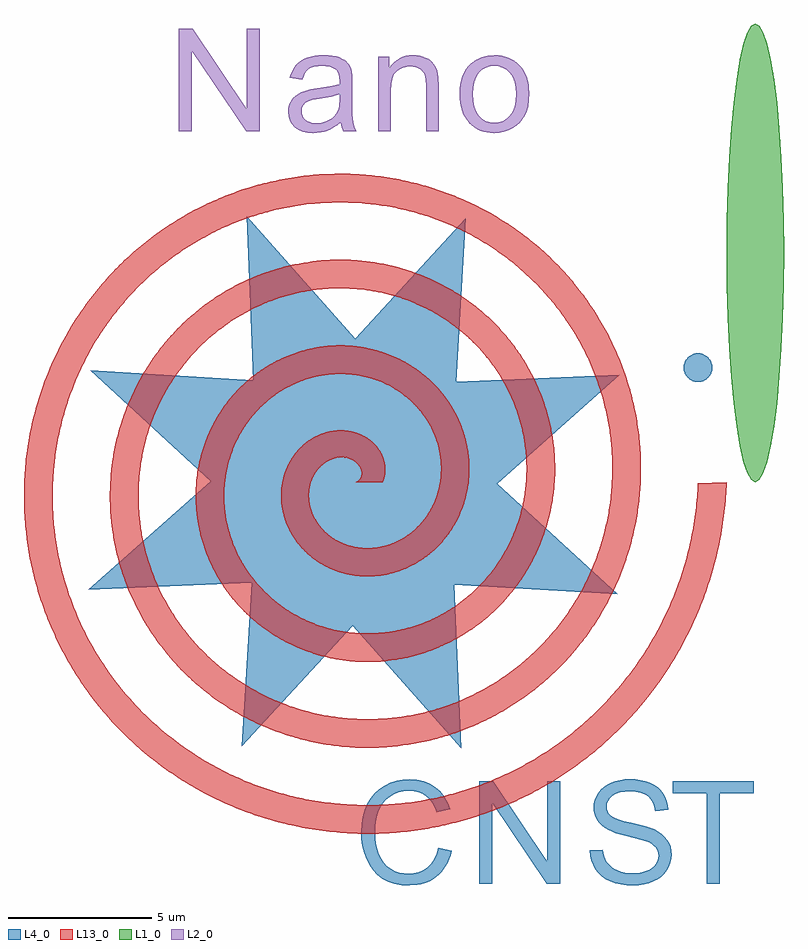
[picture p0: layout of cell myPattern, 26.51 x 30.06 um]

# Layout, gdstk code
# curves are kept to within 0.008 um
import gdstk
lib = gdstk.Library(unit=1e-6, precision=1e-09)
def P(c, l, *ps):  # polygons
    for p in ps: c.add(gdstk.Polygon(p, *l))
L1_0 = (1, 0)
L2_0 = (2, 0)
L4_0 = (4, 0)
L13_0 = (13, 0)

mypattern = lib.new_cell('myPattern')
P(mypattern, L1_0, [(14,0),(13.858,0.081),(13.718,0.324),(13.585,0.723),(13.459,1.27),(13.345,1.954),(13.244,2.761),(13.159,3.675),(13.09,4.677),(13.041,5.746),(13.01,6.861),(13,8),(13.01,9.139),(13.041,10.254),(13.09,11.323),(13.159,12.325),(13.244,13.239),(13.345,14.046),(13.459,14.73),(13.585,15.277),(13.718,15.676),(13.858,15.919),(14,16),(14.142,15.919),(14.282,15.676),(14.415,15.277),(14.541,14.73),(14.655,14.046),(14.756,13.239),(14.841,12.325),(14.91,11.323),(14.959,10.254),(14.99,9.139),(15,8),(14.99,6.861),(14.959,5.746),(14.91,4.677),(14.841,3.675),(14.756,2.761),(14.655,1.954),(14.541,1.27),(14.415,0.723),(14.282,0.324),(14.142,0.081)])
P(mypattern, L2_0, [(-1.422,12.18),(-1.621,12.193),(-1.795,12.232),(-1.945,12.298),(-2.07,12.391),(-2.181,12.523),(-1.19,12.531),(-0.964,12.589),(-0.859,12.641),(-0.684,12.775),(-0.616,12.856),(-0.562,12.945),(-0.516,13.125),(-0.5,13.539),(-0.797,13.453),(-1.219,13.383),(-1.447,13.336),(-1.602,13.289),(-1.703,13.23),(-1.773,13.148),(-1.814,13.051),(-1.828,12.945),(-1.82,12.856),(-1.795,12.775),(-1.753,12.704),(-1.695,12.641),(-1.622,12.589),(-1.533,12.553),(-1.43,12.531),(-1.312,12.523),(-2.181,12.523),(-2.24,12.631),(-2.283,12.773),(-2.297,12.93),(-2.292,13.021),(-2.249,13.193),(-2.165,13.348),(-2.111,13.414),(-1.984,13.523),(-1.836,13.605),(-1.512,13.707),(-0.82,13.809),(-0.5,13.883),(-0.508,14.131),(-0.531,14.234),(-0.57,14.318),(-0.625,14.383),(-0.721,14.444),(-0.836,14.488),(-0.971,14.515),(-1.125,14.523),(-1.396,14.498),(-1.501,14.466),(-1.586,14.422),(-1.655,14.36),(-1.713,14.275),(-1.76,14.168),(-1.797,14.039),(-2.234,14.102),(-2.199,14.229),(-2.101,14.447),(-2.039,14.539),(-1.965,14.62),(-1.77,14.753),(-1.648,14.805),(-1.373,14.875),(-1.062,14.898),(-0.754,14.879),(-0.516,14.82),(-0.42,14.779),(-0.268,14.681),(-0.165,14.562),(-0.098,14.41),(-0.078,14.32),(-0.066,14.164),(-0.055,12.828),(-0.031,12.555),(0.012,12.398),(0.078,12.242),(-0.375,12.242),(-0.43,12.391),(-0.469,12.555),(-0.701,12.381),(-0.93,12.266),(-1.166,12.201)],
  [(0.844,12.242),(0.844,14.836),(1.234,14.836),(1.234,14.461),(1.397,14.652),(1.49,14.728),(1.697,14.837),(1.812,14.871),(2.063,14.898),(2.287,14.877),(2.492,14.813),(2.664,14.713),(2.789,14.586),(2.873,14.434),(2.922,14.258),(2.945,14.098),(2.953,12.242),(2.516,12.242),(2.516,13.82),(2.502,14.053),(2.485,14.144),(2.429,14.282),(2.389,14.338),(2.281,14.43),(2.141,14.488),(1.969,14.508),(1.833,14.497),(1.707,14.465),(1.591,14.411),(1.484,14.336),(1.437,14.288),(1.396,14.229),(1.332,14.082),(1.294,13.894),(1.281,13.664),(1.281,12.242)],
  [(4.891,12.18),(4.637,12.202),(4.408,12.268),(4.204,12.377),(4.017,12.539),(4.891,12.539),(5.048,12.555),(5.191,12.602),(5.321,12.68),(5.438,12.789),(5.533,12.931),(5.602,13.105),(5.643,13.313),(5.656,13.555),(5.643,13.782),(5.602,13.979),(5.533,14.145),(5.438,14.281),(5.321,14.387),(5.191,14.463),(5.048,14.508),(4.891,14.523),(4.734,14.508),(4.592,14.463),(4.464,14.387),(4.352,14.281),(4.259,14.144),(4.193,13.975),(4.154,13.773),(4.141,13.539),(4.154,13.305),(4.193,13.102),(4.259,12.93),(4.352,12.789),(4.464,12.68),(4.592,12.602),(4.734,12.555),(4.891,12.539),(4.017,12.539),(3.876,12.726),(3.771,12.959),(3.708,13.23),(3.688,13.539),(3.694,13.713),(3.742,14.025),(3.84,14.291),(3.907,14.406),(3.987,14.51),(4.078,14.602),(4.258,14.731),(4.354,14.782),(4.453,14.824),(4.664,14.88),(4.891,14.898),(5.151,14.876),(5.385,14.811),(5.592,14.701),(5.773,14.547),(5.92,14.354),(6.025,14.127),(6.088,13.866),(6.109,13.57),(6.1,13.334),(6.072,13.125),(6.026,12.943),(5.961,12.789),(5.878,12.656),(5.777,12.537),(5.659,12.433),(5.523,12.344),(5.375,12.272),(5.221,12.221),(5.059,12.19)],
  [(-6.109,12.242),(-6.109,15.82),(-5.625,15.82),(-3.734,13.008),(-3.734,15.82),(-3.281,15.82),(-3.281,12.242),(-3.766,12.242),(-5.656,15.055),(-5.656,12.242)])
P(mypattern, L4_0, [(3.746,-9.272),(-0.044,-5),(-3.907,-9.205),(-3.566,-3.505),(-9.272,-3.746),(-5,0.044),(-9.205,3.907),(-3.505,3.566),(-3.746,9.272),(0.044,5),(3.907,9.205),(3.566,3.505),(9.272,3.746),(5,-0.044),(9.205,-3.907),(3.505,-3.566)],
  [(12,3.5),(11.894,3.511),(11.792,3.545),(11.646,3.646),(11.545,3.792),(11.511,3.894),(11.5,4),(11.511,4.106),(11.545,4.208),(11.646,4.354),(11.792,4.455),(11.894,4.489),(12,4.5),(12.106,4.489),(12.208,4.455),(12.354,4.354),(12.455,4.208),(12.489,4.106),(12.5,4),(12.489,3.894),(12.455,3.792),(12.354,3.646),(12.208,3.545),(12.106,3.511)],
  [(4.375,-14),(4.375,-10.422),(4.859,-10.422),(6.75,-13.234),(6.75,-10.422),(7.203,-10.422),(7.203,-14),(6.719,-14),(4.828,-11.187),(4.828,-14)],
  [(12.297,-14),(12.297,-10.844),(11.125,-10.844),(11.125,-10.422),(13.953,-10.422),(13.953,-10.844),(12.766,-10.844),(12.766,-14)],
  [(1.938,-14.062),(1.662,-14.048),(1.412,-14.004),(1.189,-13.931),(0.992,-13.828),(0.82,-13.698),(0.67,-13.541),(0.542,-13.358),(0.438,-13.148),(0.355,-12.921),(0.297,-12.686),(0.262,-12.441),(0.25,-12.187),(0.263,-11.916),(0.303,-11.662),(0.369,-11.427),(0.461,-11.211),(0.578,-11.016),(0.719,-10.846),(0.883,-10.7),(1.07,-10.578),(1.274,-10.482),(1.486,-10.414),(1.708,-10.373),(1.938,-10.359),(2.193,-10.376),(2.428,-10.428),(2.642,-10.513),(2.836,-10.633),(3.006,-10.784),(3.15,-10.963),(3.268,-11.17),(3.359,-11.406),(2.891,-11.516),(2.821,-11.333),(2.736,-11.178),(2.637,-11.048),(2.523,-10.945),(2.395,-10.867),(2.252,-10.811),(2.094,-10.777),(1.922,-10.766),(1.727,-10.778),(1.549,-10.814),(1.387,-10.875),(1.242,-10.961),(1.115,-11.067),(1.008,-11.191),(0.92,-11.333),(0.852,-11.492),(0.764,-11.834),(0.734,-12.187),(0.743,-12.407),(0.768,-12.611),(0.809,-12.801),(0.867,-12.977),(0.943,-13.134),(1.037,-13.271),(1.15,-13.388),(1.281,-13.484),(1.425,-13.56),(1.574,-13.613),(1.729,-13.646),(1.891,-13.656),(2.085,-13.642),(2.264,-13.6),(2.425,-13.529),(2.57,-13.43),(2.696,-13.302),(2.799,-13.146),(2.879,-12.962),(2.938,-12.75),(3.406,-12.859),(3.32,-13.138),(3.203,-13.381),(3.055,-13.587),(2.875,-13.758),(2.67,-13.891),(2.445,-13.986),(2.201,-14.043)],
  [(9.75,-14.062),(9.518,-14.054),(9.305,-14.027),(9.111,-13.983),(8.938,-13.922),(8.782,-13.842),(8.645,-13.744),(8.524,-13.627),(8.422,-13.492),(8.339,-13.343),(8.277,-13.186),(8.237,-13.019),(8.219,-12.844),(8.672,-12.812),(8.693,-12.939),(8.767,-13.158),(8.82,-13.25),(8.887,-13.332),(9.066,-13.473),(9.305,-13.579),(9.439,-13.613),(9.734,-13.641),(9.986,-13.619),(10.102,-13.592),(10.211,-13.555),(10.395,-13.455),(10.466,-13.395),(10.568,-13.257),(10.619,-13.108),(10.619,-12.948),(10.6,-12.871),(10.523,-12.734),(10.393,-12.617),(10.203,-12.516),(9.555,-12.352),(9.139,-12.236),(8.988,-12.18),(8.751,-12.051),(8.645,-11.971),(8.556,-11.883),(8.484,-11.789),(8.43,-11.688),(8.391,-11.58),(8.367,-11.465),(8.359,-11.344),(8.369,-11.213),(8.398,-11.086),(8.447,-10.963),(8.516,-10.844),(8.603,-10.733),(8.707,-10.637),(8.829,-10.554),(8.969,-10.484),(9.121,-10.43),(9.281,-10.391),(9.449,-10.367),(9.815,-10.367),(9.994,-10.391),(10.163,-10.43),(10.32,-10.484),(10.464,-10.555),(10.59,-10.641),(10.698,-10.742),(10.789,-10.859),(10.862,-10.988),(10.916,-11.125),(10.952,-11.27),(10.969,-11.422),(10.516,-11.469),(10.482,-11.308),(10.428,-11.168),(10.353,-11.05),(10.258,-10.953),(10.14,-10.878),(9.998,-10.824),(9.832,-10.792),(9.641,-10.781),(9.443,-10.791),(9.273,-10.82),(9.131,-10.869),(9.016,-10.937),(8.927,-11.02),(8.863,-11.109),(8.825,-11.207),(8.813,-11.312),(8.821,-11.402),(8.848,-11.484),(8.892,-11.559),(8.953,-11.625),(9.051,-11.688),(9.203,-11.752),(9.41,-11.817),(10.16,-12.006),(10.469,-12.109),(10.615,-12.191),(10.74,-12.281),(10.845,-12.379),(10.93,-12.484),(10.995,-12.598),(11.041,-12.719),(11.069,-12.848),(11.078,-12.984),(11.068,-13.13),(11.037,-13.27),(10.986,-13.403),(10.914,-13.531),(10.823,-13.649),(10.715,-13.754),(10.589,-13.845),(10.445,-13.922),(10.288,-13.983),(10.119,-14.027),(9.94,-14.054)])
P(mypattern, L13_0, [(0,0),(0.085,0.015),(0.18,0.078),(0.239,0.167),(0.266,0.274),(0.961,0.995),(1.054,0.757),(1.081,0.637),(1.097,0.48),(1.077,0.233),(1.001,0.003)],
  [(0.266,0.274),(0.255,0.415),(0.204,0.541),(0.108,0.665),(-0.022,0.764),(-0.056,1.764),(0.117,1.714),(0.264,1.654),(0.527,1.499),(0.654,1.395),(0.796,1.247),(0.895,1.111),(0.961,0.995)],
  [(-0.022,0.764),(-0.205,0.84),(-0.408,0.869),(-0.607,0.852),(-0.845,0.774),(-1.587,1.446),(-1.403,1.562),(-1.251,1.639),(-1.056,1.715),(-0.839,1.773),(-0.602,1.806),(-0.428,1.811),(-0.22,1.795),(-0.056,1.764)],
  [(-2.524,-0.155),(-2.491,0.047),(-2.426,0.29),(-2.348,0.498),(-2.217,0.757),(-2.059,0.992),(-1.925,1.151),(-1.762,1.309),(-1.587,1.446),(-0.845,0.774),(-1.064,0.64),(-1.156,0.561),(-1.269,0.437),(-1.425,0.189),(-1.525,-0.089)],
  [(-1.897,-2.208),(-2.057,-1.999),(-2.209,-1.754),(-2.322,-1.525),(-2.428,-1.237),(-2.49,-0.998),(-2.536,-0.678),(-2.544,-0.413),(-2.524,-0.155),(-1.525,-0.089),(-1.554,-0.232),(-1.57,-0.432),(-1.562,-0.621),(-1.531,-0.813),(-1.493,-0.954),(-1.42,-1.145),(-1.352,-1.281),(-1.248,-1.445)],
  [(0.297,-3.28),(0.034,-3.255),(-0.319,-3.187),(-0.656,-3.081),(-0.945,-2.955),(-1.217,-2.802),(-1.467,-2.625),(-1.673,-2.447),(-1.897,-2.208),(-1.248,-1.445),(-1.112,-1.617),(-0.953,-1.776),(-0.806,-1.894),(-0.608,-2.021),(-0.413,-2.118),(-0.225,-2.19),(0.017,-2.254),(0.201,-2.283)],
  [(0.464,-3.284),(0.297,-3.28),(0.201,-2.283),(0.436,-2.299),(0.701,-2.287),(0.945,-2.25),(1.187,-2.186),(1.427,-2.096),(1.659,-1.98),(1.861,-1.853),(2.074,-1.688),(2.857,-2.312),(2.578,-2.552),(2.31,-2.741),(2.03,-2.902),(1.772,-3.022),(1.508,-3.12),(1.139,-3.217),(0.801,-3.268)],
  [(2.857,-2.312),(2.074,-1.688),(2.291,-1.479),(2.452,-1.287),(2.628,-1.029),(2.751,-0.8),(2.864,-0.531),(2.943,-0.275),(3.008,0.051),(3.035,0.356),(4.028,0.484),(4.009,0.078),(3.941,-0.357),(3.838,-0.74),(3.7,-1.106),(3.527,-1.451),(3.344,-1.743),(3.113,-2.042)],
  [(3.035,0.356),(3.029,0.699),(2.989,1.013),(2.934,1.264),(2.811,1.635),(2.672,1.935),(2.52,2.196),(2.321,2.471),(2.091,2.728),(2.691,3.531),(2.939,3.276),(3.216,2.934),(3.41,2.644),(3.598,2.304),(3.721,2.03),(3.849,1.671),(3.951,1.264),(4.002,0.935),(4.028,0.484)],
  [(2.091,2.728),(1.861,2.942),(1.52,3.195),(1.209,3.376),(0.878,3.526),(0.564,3.633),(0.201,3.719),(-0.211,3.771),(-0.556,3.779),(-0.715,4.768),(-0.329,4.772),(0.101,4.739),(0.475,4.678),(0.886,4.574),(1.238,4.452),(1.577,4.303),(1.939,4.105),(2.278,3.877),(2.691,3.531)],
  [(-3.408,2.458),(-4.228,3.032),(-3.98,3.299),(-3.677,3.58),(-3.354,3.833),(-3.057,4.032),(-2.66,4.254),(-2.294,4.419),(-1.918,4.553),(-1.488,4.666),(-1.102,4.733),(-0.715,4.768),(-0.556,3.779),(-0.903,3.756),(-1.289,3.692),(-1.672,3.588),(-2.083,3.428),(-2.443,3.241),(-2.787,3.016),(-3.079,2.782)],
  [(-5.497,-0.989),(-5.521,-0.487),(-5.494,0.066),(-5.46,0.339),(-5.39,0.716),(-5.262,1.188),(-5.093,1.643),(-4.982,1.887),(-4.834,2.17),(-4.521,2.661),(-4.228,3.032),(-3.408,2.458),(-3.678,2.129),(-3.893,1.808),(-4.099,1.426),(-4.268,1.021),(-4.385,0.639),(-4.481,0.156),(-4.522,-0.295),(-4.513,-0.799)],
  [(-3.334,-4.949),(-3.738,-4.596),(-3.947,-4.385),(-4.182,-4.121),(-4.536,-3.653),(-4.838,-3.156),(-5.064,-2.688),(-5.19,-2.367),(-5.28,-2.096),(-5.417,-1.546),(-5.497,-0.989),(-4.513,-0.799),(-4.465,-1.213),(-4.354,-1.715),(-4.186,-2.207),(-4.006,-2.598),(-3.738,-3.055),(-3.479,-3.408),(-3.152,-3.775),(-2.786,-4.111)],
  [(0.485,-6.268),(-0.018,-6.249),(-0.575,-6.179),(-1.061,-6.076),(-1.591,-5.914),(-2.102,-5.707),(-2.535,-5.486),(-2.946,-5.233),(-3.334,-4.949),(-2.786,-4.111),(-2.549,-4.295),(-2.3,-4.466),(-1.905,-4.694),(-1.441,-4.907),(-0.952,-5.073),(-0.497,-5.181),(0.023,-5.252),(0.552,-5.271),(1.086,-5.236),(1.306,-6.213),(0.927,-6.252)],
  [(1.306,-6.213),(1.086,-5.236),(1.564,-5.159),(1.933,-5.068),(2.194,-4.987),(2.654,-4.807),(2.903,-4.689),(3.196,-4.53),(3.618,-4.257),(3.886,-4.053),(4.101,-3.87),(4.505,-3.47),(4.835,-3.074),(5.69,-3.596),(5.526,-3.81),(5.265,-4.117),(4.793,-4.589),(4.333,-4.969),(4.01,-5.197),(3.788,-5.337),(3.446,-5.531),(3.153,-5.675),(2.552,-5.918),(2.183,-6.033),(1.872,-6.112)],
  [(5.69,-3.596),(4.835,-3.074),(5.16,-2.598),(5.306,-2.346),(5.464,-2.034),(5.666,-1.546),(5.839,-0.98),(5.916,-0.632),(5.964,-0.337),(6.013,0.202),(6.01,0.808),(5.946,1.415),(6.915,1.666),(6.966,1.314),(7,0.96),(7.015,0.326),(6.993,-0.095),(6.956,-0.443),(6.845,-1.06),(6.76,-1.396),(6.637,-1.791),(6.516,-2.113),(6.38,-2.428),(6.229,-2.734),(6.063,-3.031),(5.883,-3.319)],
  [(5.946,1.415),(5.82,2.017),(5.633,2.608),(5.385,3.182),(5.079,3.732),(4.905,3.996),(4.717,4.252),(4.557,4.451),(4.301,4.737),(3.835,5.181),(3.533,5.426),(3.323,5.579),(3.817,6.45),(4.299,6.093),(4.638,5.802),(5.01,5.439),(5.401,4.995),(5.711,4.584),(5.99,4.154),(6.204,3.773),(6.451,3.248),(6.584,2.912),(6.74,2.433),(6.846,2.016),(6.915,1.666)],
  [(3.323,5.579),(2.995,5.794),(2.712,5.958),(2.18,6.218),(1.873,6.342),(1.559,6.451),(1.304,6.527),(0.914,6.622),(0.584,6.683),(0.25,6.728),(-0.087,6.756),(-0.426,6.767),(-0.766,6.761),(-1.175,6.731),(-1.786,6.639),(-2.067,7.601),(-1.524,7.694),(-1.056,7.743),(-0.51,7.765),(0.034,7.748),(0.574,7.693),(1.181,7.585),(1.701,7.451),(2.208,7.282),(2.631,7.11),(3.041,6.913),(3.437,6.693),(3.817,6.45)],
  [(-6.341,3.53),(-7.227,3.997),(-6.902,4.475),(-6.598,4.864),(-6.328,5.172),(-5.985,5.523),(-5.562,5.904),(-5.179,6.205),(-4.645,6.567),(-4.157,6.848),(-3.652,7.092),(-3.209,7.272),(-2.605,7.469),(-2.067,7.601),(-1.786,6.639),(-2.123,6.565),(-2.457,6.473),(-2.722,6.387),(-3.112,6.238),(-3.495,6.065),(-3.745,5.936),(-4.29,5.61),(-4.637,5.364),(-4.916,5.143),(-5.184,4.907),(-5.441,4.657),(-5.686,4.394),(-5.918,4.118),(-6.137,3.83)],
  [(-8.268,-2.51),(-8.36,-2.088),(-8.431,-1.663),(-8.487,-1.151),(-8.507,-0.809),(-8.513,-0.381),(-8.492,0.129),(-8.461,0.468),(-8.403,0.887),(-8.325,1.303),(-8.226,1.712),(-8.107,2.115),(-7.968,2.51),(-7.81,2.897),(-7.634,3.275),(-7.439,3.642),(-7.227,3.997),(-6.341,3.53),(-6.567,3.156),(-6.739,2.833),(-6.865,2.568),(-7.034,2.16),(-7.156,1.812),(-7.261,1.456),(-7.405,0.803),(-7.46,0.433),(-7.496,0.06),(-7.515,-0.391),(-7.512,-0.693),(-7.462,-1.373),(-7.394,-1.825),(-7.316,-2.199)],
  [(-4.135,-8.02),(-4.593,-7.733),(-4.889,-7.527),(-5.245,-7.254),(-5.586,-6.964),(-5.911,-6.658),(-6.22,-6.337),(-6.511,-6.002),(-6.785,-5.654),(-7.04,-5.294),(-7.276,-4.922),(-7.492,-4.54),(-7.689,-4.148),(-7.865,-3.749),(-8.02,-3.342),(-8.155,-2.929),(-8.268,-2.51),(-7.316,-2.199),(-7.198,-2.644),(-7.079,-3.01),(-6.941,-3.37),(-6.785,-3.724),(-6.647,-4.003),(-6.458,-4.343),(-6.252,-4.675),(-6.029,-4.997),(-5.839,-5.247),(-5.534,-5.608),(-5.262,-5.895),(-4.976,-6.169),(-4.737,-6.379),(-4.361,-6.675),(-4.101,-6.861),(-3.695,-7.12)],
  [(0.5,-9.262),(-0.056,-9.247),(-0.7,-9.187),(-1.336,-9.083),(-1.872,-8.958),(-2.485,-8.773),(-2.997,-8.581),(-3.577,-8.32),(-4.135,-8.02),(-3.695,-7.12),(-3.057,-7.463),(-2.688,-7.629),(-2.233,-7.804),(-1.846,-7.929),(-1.452,-8.035),(-0.971,-8.136),(-0.565,-8.198),(-0.155,-8.24),(0.258,-8.261),(0.59,-8.263),(1.005,-8.247),(1.42,-8.21),(1.834,-8.152),(2.163,-8.091),(2.653,-7.974),(2.994,-8.915),(2.355,-9.071),(1.708,-9.18),(1.151,-9.238)],
  [(2.994,-8.915),(2.653,-7.974),(3.137,-7.827),(3.535,-7.682),(3.925,-7.517),(4.308,-7.332),(4.608,-7.17),(5.047,-6.904),(5.47,-6.611),(5.675,-6.454),(5.942,-6.236),(6.263,-5.948),(6.571,-5.643),(6.864,-5.322),(7.194,-4.917),(7.451,-4.564),(7.691,-4.197),(7.912,-3.818),(8.826,-4.229),(8.583,-4.653),(8.319,-5.064),(8.036,-5.46),(7.734,-5.84),(7.414,-6.204),(7.077,-6.551),(6.652,-6.943),(6.356,-7.189),(5.974,-7.479),(5.579,-7.749),(5.171,-7.998),(4.753,-8.226),(4.325,-8.432),(3.889,-8.616),(3.444,-8.777)],
  [(8.826,-4.229),(7.912,-3.818),(8.115,-3.427),(8.299,-3.025),(8.463,-2.614),(8.606,-2.193),(8.75,-1.679),(8.847,-1.243),(8.908,-0.89),(8.965,-0.445),(9,0.004),(9.013,0.455),(9.006,0.817),(8.978,1.269),(8.927,1.721),(8.853,2.171),(8.734,2.706),(8.61,3.147),(9.541,3.517),(9.682,3.029),(9.798,2.535),(9.905,1.938),(9.955,1.537),(9.996,1.035),(10.011,0.533),(9.997,-0.068),(9.967,-0.467),(9.907,-0.962),(9.823,-1.453),(9.715,-1.937),(9.583,-2.414),(9.427,-2.883),(9.249,-3.343),(9.048,-3.792)],
  [(8.61,3.147),(8.464,3.583),(8.296,4.012),(8.106,4.433),(7.895,4.845),(7.662,5.247),(7.357,5.715),(7.137,6.017),(6.845,6.382),(6.534,6.733),(6.205,7.069),(5.929,7.327),(5.496,7.692),(5.194,7.922),(4.724,8.244),(4.317,8.491),(3.897,8.718),(4.279,9.644),(4.837,9.345),(5.461,8.955),(5.972,8.588),(6.458,8.192),(6.993,7.695),(7.421,7.242),(7.884,6.684),(8.248,6.182),(8.632,5.572),(9.016,4.846),(9.302,4.19),(9.541,3.517)],
  [(3.897,8.718),(3.465,8.924),(3.022,9.109),(2.661,9.241),(2.108,9.412),(1.639,9.529),(1.068,9.638),(0.49,9.714),(0.101,9.745),(-0.485,9.762),(-0.975,9.749),(-1.464,9.712),(-1.855,9.664),(-2.341,9.583),(-2.728,9.5),(-3.207,9.374),(-3.68,9.224),(-4.079,10.143),(-3.56,10.312),(-2.821,10.503),(-2.073,10.642),(-1.427,10.719),(-0.672,10.759),(-0.026,10.751),(0.617,10.705),(1.36,10.602),(2.092,10.448),(2.504,10.338),(2.91,10.211),(3.605,9.951),(4.279,9.644)],
  [(-9.534,3.932),(-10.472,4.285),(-10.275,4.692),(-10.062,5.091),(-9.714,5.671),(-9.266,6.317),(-8.99,6.671),(-8.701,7.014),(-8.165,7.582),(-7.676,8.038),(-7.074,8.529),(-6.533,8.915),(-5.971,9.266),(-5.39,9.583),(-4.793,9.863),(-4.079,10.143),(-3.68,9.224),(-4.147,9.05),(-4.605,8.853),(-5.054,8.632),(-5.492,8.389),(-6.002,8.068),(-6.332,7.836),(-6.732,7.527),(-7.116,7.199),(-7.485,6.85),(-7.836,6.483),(-8.234,6.018),(-8.484,5.695),(-8.778,5.276),(-9.052,4.842),(-9.256,4.484)],
  [(-10.72,-4.679),(-10.918,-4.129),(-11.088,-3.571),(-11.229,-3.006),(-11.342,-2.436),(-11.412,-1.978),(-11.473,-1.402),(-11.508,-0.71),(-11.505,-0.133),(-11.473,0.441),(-11.413,1.012),(-11.345,1.465),(-11.234,2.026),(-11.064,2.689),(-10.893,3.232),(-10.737,3.659),(-10.472,4.285),(-9.534,3.932),(-9.702,3.554),(-9.925,2.974),(-10.084,2.48),(-10.219,1.978),(-10.329,1.468),(-10.413,0.952),(-10.462,0.536),(-10.504,-0.093),(-10.51,-0.619),(-10.49,-1.146),(-10.443,-1.673),(-10.352,-2.302),(-10.247,-2.823),(-10.144,-3.236),(-9.992,-3.748),(-9.814,-4.252)],
  [(-4.246,-11.308),(-4.687,-11.111),(-5.226,-10.842),(-5.853,-10.484),(-6.357,-10.158),(-6.843,-9.808),(-7.31,-9.435),(-7.757,-9.039),(-8.183,-8.623),(-8.586,-8.187),(-8.967,-7.732),(-9.323,-7.259),(-9.655,-6.771),(-9.961,-6.267),(-10.241,-5.75),(-10.494,-5.22),(-10.72,-4.679),(-9.814,-4.252),(-9.567,-4.846),(-9.382,-5.234),(-9.129,-5.709),(-8.852,-6.171),(-8.551,-6.621),(-8.228,-7.055),(-7.882,-7.474),(-7.515,-7.876),(-7.128,-8.26),(-6.721,-8.625),(-6.208,-9.036),(-5.851,-9.293),(-5.485,-9.536),(-5.012,-9.82),(-4.426,-10.129),(-3.922,-10.359)],
  [(0.5,-12.259),(-0.113,-12.245),(-0.601,-12.212),(-1.209,-12.143),(-1.93,-12.02),(-2.405,-11.915),(-3.108,-11.721),(-3.683,-11.528),(-4.246,-11.308),(-3.922,-10.359),(-3.303,-10.603),(-2.775,-10.778),(-2.237,-10.927),(-1.692,-11.049),(-1.14,-11.143),(-0.695,-11.199),(-0.247,-11.237),(0.429,-11.26),(0.88,-11.253),(1.444,-11.219),(2.008,-11.156),(2.68,-11.043),(3.124,-10.946),(3.785,-10.766),(4.327,-10.585),(4.861,-10.377),(5.316,-11.269),(4.737,-11.499),(4.149,-11.699),(3.552,-11.869),(2.949,-12.008),(2.34,-12.117),(1.728,-12.195),(1.115,-12.243)],
  [(5.316,-11.269),(4.861,-10.377),(5.488,-10.092),(5.998,-9.826),(6.397,-9.594),(6.978,-9.216),(7.445,-8.874),(7.807,-8.583),(8.243,-8.199),(8.66,-7.793),(9.057,-7.365),(9.433,-6.918),(9.787,-6.451),(10.118,-5.966),(10.425,-5.464),(10.706,-4.946),(10.962,-4.413),(11.192,-3.868),(12.149,-4.162),(11.904,-4.755),(11.63,-5.334),(11.328,-5.897),(10.998,-6.444),(10.642,-6.973),(10.261,-7.482),(9.856,-7.97),(9.428,-8.437),(8.977,-8.881),(8.506,-9.301),(7.915,-9.772),(7.403,-10.136),(6.874,-10.473),(6.329,-10.783),(5.772,-11.065)],
  [(12.149,-4.162),(11.192,-3.868),(11.356,-3.423),(11.536,-2.857),(11.659,-2.397),(11.765,-1.932),(11.852,-1.462),(11.92,-0.988),(11.969,-0.512),(11.999,-0.033),(13,0),(12.971,-0.519),(12.905,-1.165),(12.759,-2.059),(12.647,-2.564),(12.516,-3.063),(12.365,-3.556)])

lib.write_gds('myPattern.gds')
